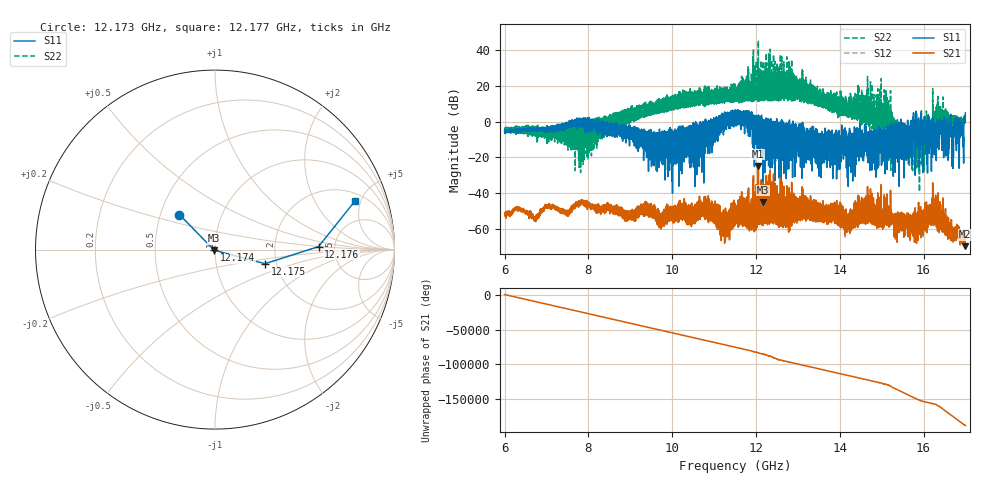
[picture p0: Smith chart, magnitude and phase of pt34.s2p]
#  HZ  S  RI  R  50.00
! Rohde & Schwarz Vector Network Analyzer
! Rohde-Schwarz,ZNA67-2Port,1332450062101215,3.01
! Created: UTC 10/15/2026, 3:54:57 PM
! freq[Hz]  re:S11  im:S11  re:S21  im:S21  re:S12  im:S12  re:S22  im:S22
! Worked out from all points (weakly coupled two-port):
!   11001 points, 6 GHz to 17 GHz, reference 50 ohm
!   highest |S21| = -24.87 dB at 12.057 GHz (marker M1); lowest = -69.8 dB at 16.99 GHz (marker M2)
!   lowest |S11| = -45.0 dB at 12.174 GHz (marker M3), VSWR 1.01, Z = 49.5 - j0.313 ohm
!   |S11| at or under -10 dB: 13.48055 GHz to 13.49697 GHz (16.41 MHz wide, 0.122 % of centre); 13.59804 GHz to 13.62495 GHz (26.91 MHz wide, 0.198 % of centre); 14.15682 GHz to 14.17437 GHz (17.55 MHz wide, 0.124 % of centre) (the widest 3 of 505)
!   |S22| runs from -39.2 to 45.6 dB; largest |S21 - S12| = 0.0022
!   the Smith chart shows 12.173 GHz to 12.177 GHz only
!   S11 on the Smith chart (normalised r, x): 12.173 GHz: 0.63, +0.26; 12.174 GHz: 0.99, -0.01; 12.175 GHz: 1.74, -0.30; 12.176 GHz: 3.72, +0.19; 12.177 GHz: 2.57, +4.47
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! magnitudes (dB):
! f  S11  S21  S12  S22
! 6 GHz  -5.0  -51.2  -51.2  -4.4
! 6.741 GHz  -4.3  -55.3  -55.6  -4.7
! 7.013 GHz  -2.9  -47.9  -47.8  -2.1
! 7.834 GHz  -0.2  -45.1  -44.9  -0.9
! 9.667 GHz  -12.0  -50.3  -50.4  11.8
! 10.798 GHz  -0.9  -53.0  -53.0  9.9
! 11.225 GHz  -2.4  -53.7  -54.0  15.8
! 11.5 GHz  6.4  -56.0  -55.8  12.7
! 12.057 GHz  -5.2  -24.9  -24.9  45.6
! 12.173 GHz  -11.1  -51.8  -51.9  16.4
! 12.174 GHz  -45.0  -34.2  -34.2  33.9
! 12.175 GHz  -10.8  -48.0  -48.2  19.0
! 12.176 GHz  -4.8  -52.1  -52.0  14.5
! 12.177 GHz  -1.6  -52.9  -52.9  14.2
! 13.334 GHz  -7.6  -52.0  -51.7  12.6
! 14.183 GHz  -31.4  -57.6  -57.5  3.7
! 15.167 GHz  -9.9  -56.8  -57.1  1.2
! 15.969 GHz  -11.9  -53.6  -53.5  -6.4
! 16.354 GHz  -12.6  -57.4  -57.6  -3.0
! 16.905 GHz  -3.2  -63.6  -63.8  0.1
! 16.99 GHz  1.7  -69.8  -69.6  -0.6
! 17 GHz  5.0  -64.7  -64.1  0.1
